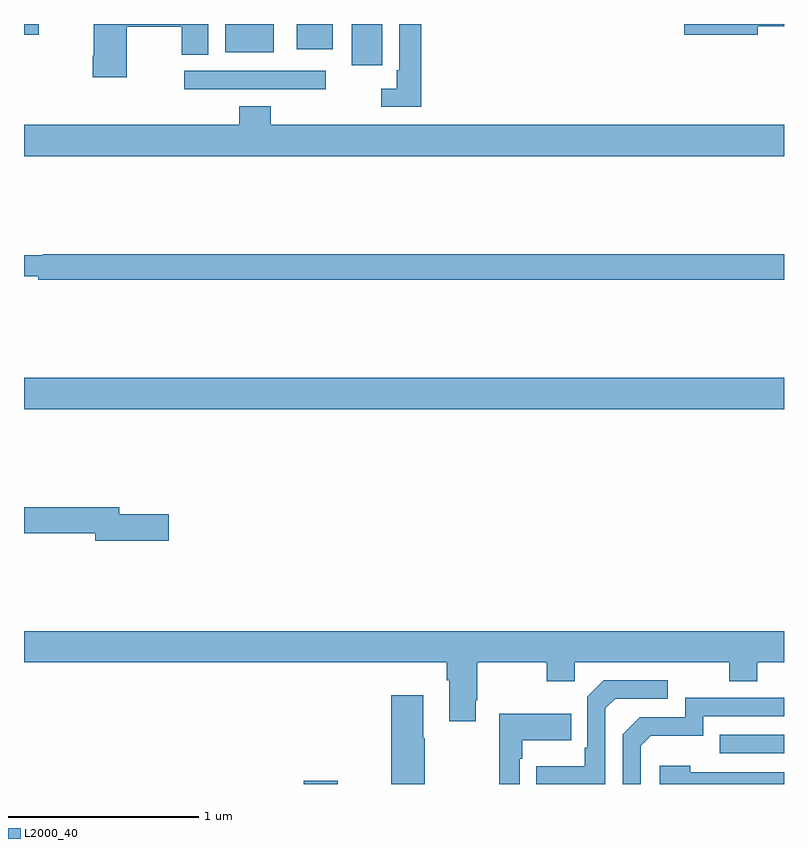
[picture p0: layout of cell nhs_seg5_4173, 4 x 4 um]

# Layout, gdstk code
import gdstk
lib = gdstk.Library(unit=1e-6, precision=1e-09)
def R(c, l, rs):  # rectangles x0, y0, x1, y1
    for r in rs: c.add(gdstk.rectangle(r[:2], r[2:], *l))
def P(c, l, *ps):  # polygons
    for p in ps: c.add(gdstk.Polygon(p, *l))
L2000_40 = (2000, 40)

nhs_seg5_4173 = lib.new_cell('nhs_seg5_4173')
R(nhs_seg5_4173, L2000_40, [(358.472,842.799,358.65,842.815), (360.661,842.961,361,843.057), (357,844.772,361,844.936), (357.843,846.456,358.588,846.552), (358.724,846.582,358.885,846.799), (358.058,846.65,358.315,846.799), (358.436,846.665,358.624,846.799), (357,846.742,357.078,846.799)])
P(nhs_seg5_4173, L2000_40, [(357.54,846.784),(357.829,846.784),(357.829,846.637),(357.97,846.637),(357.97,846.799),(357.367,846.799),(357.367,846.631),(357.362,846.631),(357.362,846.519),(357.54,846.519)],
  [(359.09,846.799),(358.974,846.799),(358.974,846.556),(358.962,846.556),(358.962,846.459),(358.881,846.459),(358.881,846.363),(359.09,846.363)],
  [(360.862,846.788),(361,846.788),(361,846.799),(360.474,846.799),(360.474,846.742),(360.862,846.742)],
  [(361,846.268),(358.298,846.268),(358.298,846.367),(358.133,846.367),(358.133,846.268),(357,846.268),(357,846.104),(361,846.104)],
  [(361,845.588),(357.098,845.588),(357.098,845.581),(357,845.581),(357,845.471),(357.076,845.471),(357.076,845.452),(361,845.452)],
  [(357.763,844.22),(357.502,844.22),(357.502,844.256),(357,844.256),(357,844.12),(357.374,844.12),(357.374,844.078),(357.763,844.078)],
  [(359.377,843.241),(359.385,843.241),(359.385,843.44),(359.752,843.44),(359.752,843.341),(359.898,843.341),(359.898,843.44),(360.712,843.44),(360.712,843.341),(360.859,843.341),(360.859,843.44),(361,843.44),(361,843.604),(357,843.604),(357,843.44),(359.225,843.44),(359.225,843.344),(359.237,843.344),(359.237,843.129),(359.377,843.129)],
  [(360.06,843.198),(360.111,843.249),(360.388,843.249),(360.388,843.345),(360.051,843.345),(359.964,843.258),(359.964,842.989),(359.952,842.989),(359.952,842.893),(359.695,842.893),(359.695,842.799),(360.06,842.799)],
  [(359.109,843.041),(359.101,843.041),(359.101,843.265),(358.934,843.265),(358.934,842.799),(359.109,842.799)],
  [(360.246,843),(360.299,843.053),(360.576,843.053),(360.576,843.156),(361,843.156),(361,843.252),(360.48,843.252),(360.48,843.15),(360.24,843.15),(360.15,843.06),(360.15,842.799),(360.246,842.799)],
  [(359.61,842.933),(359.623,842.933),(359.623,843.029),(359.879,843.029),(359.879,843.169),(359.502,843.169),(359.502,842.799),(359.61,842.799)],
  [(361,842.862),(360.506,842.862),(360.506,842.896),(360.345,842.896),(360.345,842.799),(361,842.799)])

lib.write_gds('nhs_seg5_4173.gds')
